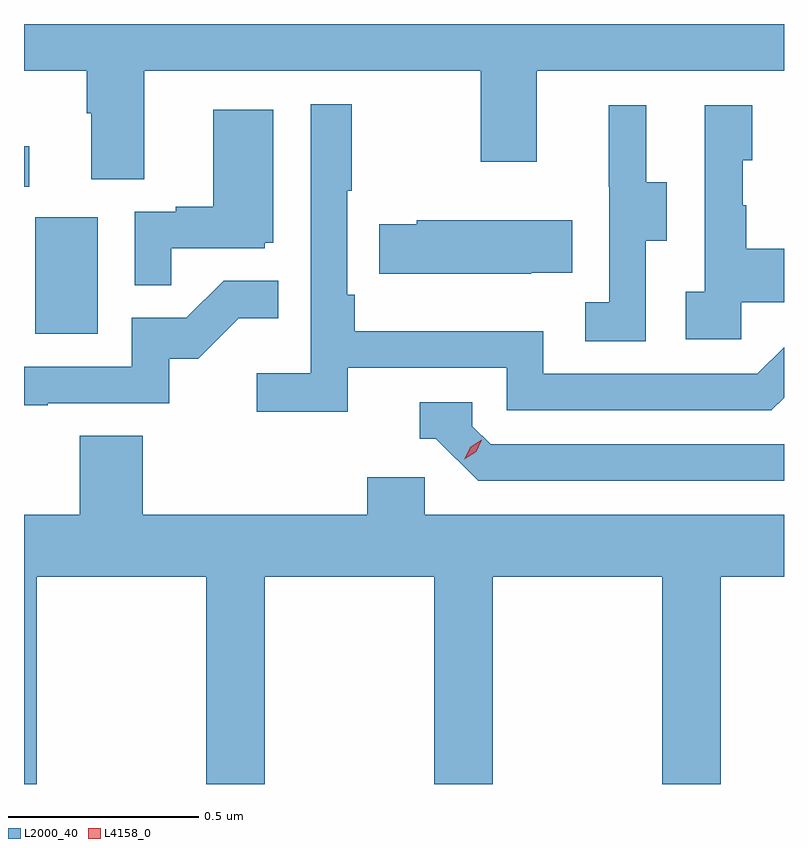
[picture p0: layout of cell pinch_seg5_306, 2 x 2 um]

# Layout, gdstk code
import gdstk
lib = gdstk.Library(unit=1e-6, precision=1e-09)
def R(c, l, rs):  # rectangles x0, y0, x1, y1
    for r in rs: c.add(gdstk.rectangle(r[:2], r[2:], *l))
def P(c, l, *ps):  # polygons
    for p in ps: c.add(gdstk.Polygon(p, *l))
L2000_40 = (2000, 40)
L4158_0 = (4158, 0)

pinch_seg5_306 = lib.new_cell('pinch_seg5_306')
R(pinch_seg5_306, L2000_40, [(900.806,882.708,900.97,883.015), (900.776,883.095,900.79,883.201)])
P(pinch_seg5_306, L2000_40, [(901.093,883.4),(901.978,883.4),(901.978,883.161),(902.125,883.161),(902.125,883.4),(902.776,883.4),(902.776,883.523),(900.776,883.523),(900.776,883.4),(900.941,883.4),(900.941,883.288),(900.953,883.288),(900.953,883.114),(901.093,883.114)],
  [(901.628,882.618),(902.046,882.618),(902.046,882.507),(902.743,882.507),(902.776,882.54),(902.776,882.673),(902.706,882.603),(902.142,882.603),(902.142,882.715),(901.646,882.715),(901.646,882.811),(901.626,882.811),(901.626,883.084),(901.639,883.084),(901.639,883.312),(901.53,883.312),(901.53,882.604),(901.389,882.604),(901.389,882.502),(901.628,882.502)],
  [(902.664,882.791),(902.776,882.791),(902.776,882.931),(902.677,882.931),(902.677,883.046),(902.667,883.046),(902.667,883.164),(902.692,883.164),(902.692,883.309),(902.568,883.309),(902.568,882.818),(902.517,882.818),(902.517,882.693),(902.664,882.693)],
  [(902.412,882.952),(902.467,882.952),(902.467,883.107),(902.413,883.107),(902.413,883.309),(902.315,883.309),(902.315,883.095),(902.316,883.095),(902.316,882.791),(902.253,882.791),(902.253,882.688),(902.412,882.688)],
  [(901.163,882.933),(901.41,882.933),(901.41,882.948),(901.432,882.948),(901.432,883.297),(901.274,883.297),(901.274,883.042),(901.175,883.042),(901.175,883.029),(901.068,883.029),(901.068,882.835),(901.163,882.835)],
  [(902.111,882.869),(902.219,882.869),(902.219,883.006),(901.809,883.006),(901.809,882.996),(901.711,882.996),(901.711,882.866),(902.111,882.866)],
  [(900.839,882.525),(901.158,882.525),(901.158,882.642),(901.234,882.642),(901.341,882.749),(901.445,882.749),(901.445,882.848),(901.301,882.848),(901.203,882.75),(901.059,882.75),(901.059,882.621),(900.776,882.621),(900.776,882.52),(900.839,882.52)],
  [(902.776,882.417),(902.004,882.417),(901.956,882.465),(901.956,882.528),(901.817,882.528),(901.817,882.432),(901.86,882.432),(901.971,882.321),(902.776,882.321)],
  [(900.81,882.068),(901.255,882.068),(901.255,881.523),(901.41,881.523),(901.41,882.068),(901.855,882.068),(901.855,881.523),(902.01,881.523),(902.01,882.068),(902.455,882.068),(902.455,881.523),(902.61,881.523),(902.61,882.068),(902.776,882.068),(902.776,882.232),(901.83,882.232),(901.83,882.33),(901.679,882.33),(901.679,882.232),(901.088,882.232),(901.088,882.44),(900.923,882.44),(900.923,882.232),(900.776,882.232),(900.776,881.523),(900.81,881.523)])
P(pinch_seg5_306, L4158_0, [(901.935,882.377),(901.935,882.378),(901.951,882.41),(901.981,882.429),(901.981,882.429),(901.981,882.429),(901.966,882.397),(901.935,882.377)])

lib.write_gds('pinch_seg5_306.gds')
